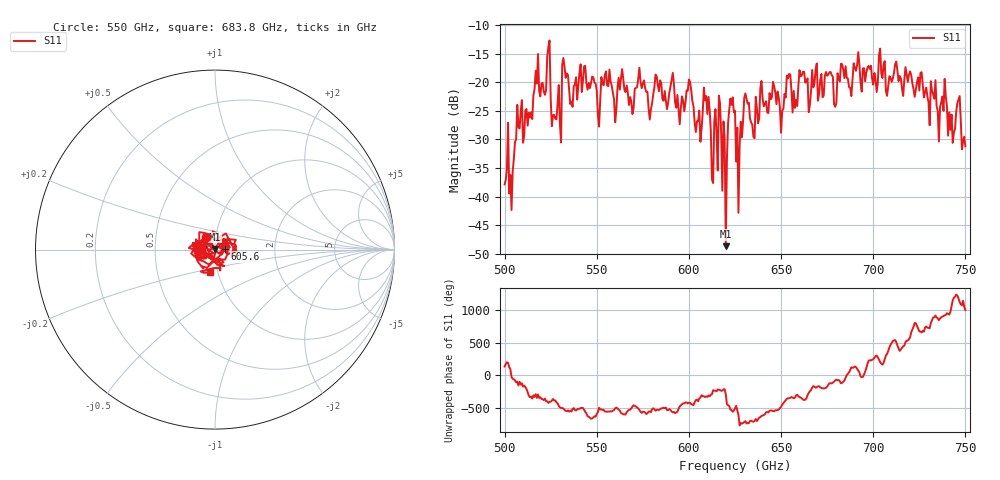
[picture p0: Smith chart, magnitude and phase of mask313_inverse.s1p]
!Created with skrf (http://scikit-rf.org).
# GHz S MA R 50.0
!freq magS11 angS11
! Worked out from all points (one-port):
!   401 points, 500 GHz to 750 GHz, reference 50 ohm
!   lowest |S11| = -48.7 dB at 620 GHz (marker M1), VSWR 1.01, Z = 50.1 + j0.347 ohm
!   |S11| at or under -10 dB: start of sweep to end of sweep
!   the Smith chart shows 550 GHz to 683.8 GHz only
!   S11 on the Smith chart (normalised r, x): 550 GHz: 0.90, +0.12; 605.6 GHz: 1.12, +0.01; 683.8 GHz: 0.92, -0.24
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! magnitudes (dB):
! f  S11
! 500 GHz  -37.9
! 503.8 GHz  -42.4
! 508.1 GHz  -28.1
! 516.9 GHz  -18.0
! 523.8 GHz  -13.8
! 526.9 GHz  -25.7
! 531.2 GHz  -16.9
! 550 GHz  -21.4
! 562.5 GHz  -21.3
! 593.8 GHz  -22.2
! 600 GHz  -19.5
! 605.6 GHz  -24.9
! 609.4 GHz  -22.4
! 612.5 GHz  -37.0
! 615.6 GHz  -35.4
! 620 GHz  -48.7
! 622.5 GHz  -22.8
! 625 GHz  -25.0
! 626.9 GHz  -42.8
! 631.2 GHz  -22.8
! 634.4 GHz  -27.4
! 656.2 GHz  -25.3
! 683.8 GHz  -17.8
! 687.5 GHz  -21.0
! 718.8 GHz  -19.9
! 743.1 GHz  -30.6
! 746.2 GHz  -23.0
! 750 GHz  -31.2
